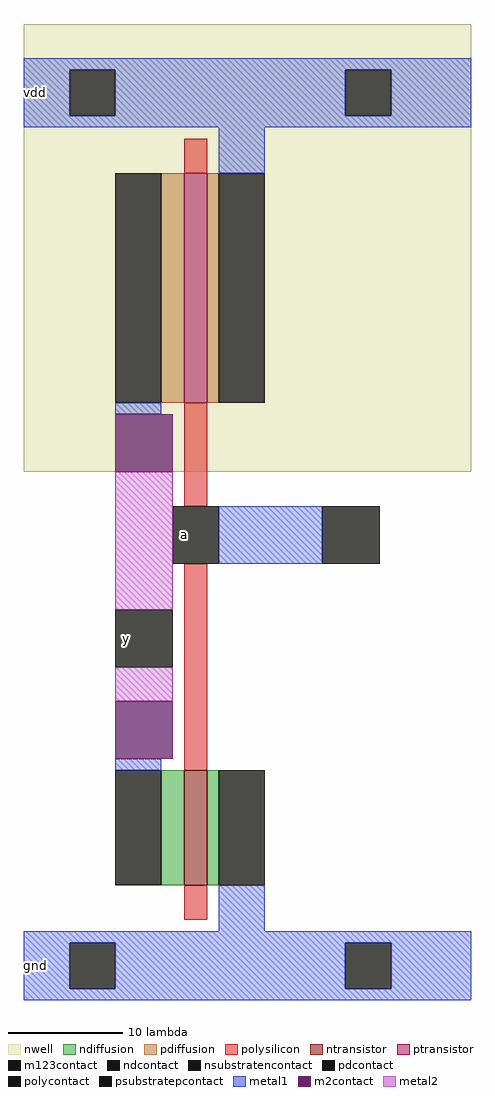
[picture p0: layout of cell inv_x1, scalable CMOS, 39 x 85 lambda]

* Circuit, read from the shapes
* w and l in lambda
.subckt inv_x1 a y vdd gnd
M1 gnd a y gnd nfet w=10 l=2
M2 vdd a y vdd pfet w=20 l=2
.ends

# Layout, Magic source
magic
tech scmos
<< nwell >>
rect 0 46 39 85
<< ntransistor >>
rect 14 10 16 20
<< ptransistor >>
rect 14 52 16 72
<< ndiffusion >>
rect 12 10 14 20
rect 16 10 17 20
<< pdiffusion >>
rect 12 52 14 72
rect 16 52 17 72
<< ndcontact >>
rect 8 10 12 20
rect 17 10 21 20
<< pdcontact >>
rect 8 52 12 72
rect 17 52 21 72
<< psubstratepcontact >>
rect 4 1 8 5
rect 28 1 32 5
<< nsubstratencontact >>
rect 4 77 8 81
rect 28 77 32 81
<< polysilicon >>
rect 14 72 16 75
rect 14 43 16 52
rect 14 20 16 38
rect 14 7 16 10
<< polycontact >>
rect 13 38 17 43
<< metal1 >>
rect 0 81 39 82
rect 0 77 4 81
rect 8 77 28 81
rect 32 77 39 81
rect 0 76 39 77
rect 17 72 21 76
rect 8 51 12 52
rect 17 38 26 43
rect 8 20 12 21
rect 17 6 21 10
rect 0 5 39 6
rect 0 1 4 5
rect 8 1 28 5
rect 32 1 39 5
rect 0 0 39 1
<< m2contact >>
rect 8 46 13 51
rect 8 21 13 26
<< metal2 >>
rect 8 34 13 46
rect 8 26 13 29
<< m123contact >>
rect 26 38 31 43
rect 8 29 13 34
<< labels >>
rlabel metal1 13 38 15 43 0 a
port 1 nsew
rlabel metal1 8 29 10 34 0 y
port 2 nsew
rlabel metal1 0 76 2 82 0 vdd
port 3 nsew
rlabel metal1 0 0 2 6 0 gnd
port 4 nsew
<< end >>
